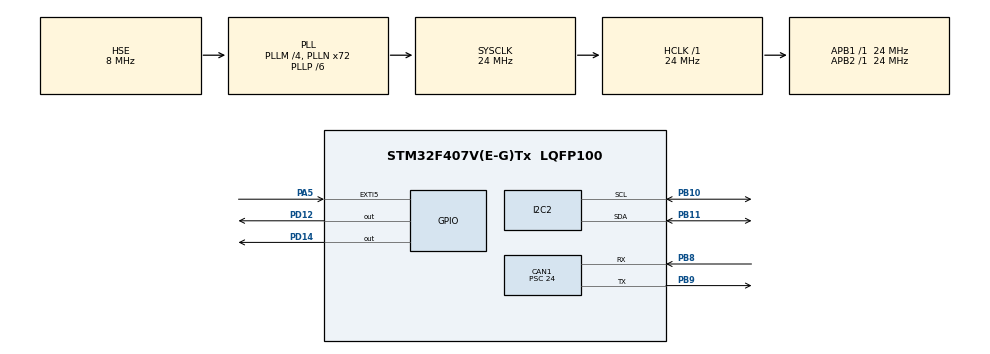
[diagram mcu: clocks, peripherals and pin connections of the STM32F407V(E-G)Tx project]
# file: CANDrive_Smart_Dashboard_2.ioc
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CAN1.BS1=CAN_BS1_13TQ
CAN1.BS2=CAN_BS2_2TQ
CAN1.CalculateBaudRate=62500
CAN1.CalculateTimeBit=16000
CAN1.CalculateTimeQuantum=1000.0
CAN1.Prescaler=24
I2C2.OwnAddress=0x48
Mcu.Family=STM32F4
Mcu.Name=STM32F407V(E-G)Tx
Mcu.Package=LQFP100
NVIC.CAN1_TX_IRQn=true\:7\:0\:true\:false\:true\:true\:true\:true
NVIC.EXTI9_5_IRQn=true\:6\:0\:true\:false\:true\:true\:true\:true
NVIC.PriorityGroup=NVIC_PRIORITYGROUP_4
NVIC.TIM1_UP_TIM10_IRQn=true\:15\:0\:false\:false\:true\:false\:true\:true
NVIC.TimeBase=TIM1_UP_TIM10_IRQn
NVIC.TimeBaseIP=TIM1
PA5.GPIO_ModeDefaultEXTI=GPIO_MODE_IT_RISING_FALLING
PA5.Signal=GPXTI5
PB10.Mode=I2C
PB10.Signal=I2C2_SCL
PB11.Mode=I2C
PB11.Signal=I2C2_SDA
PB8.Mode=CAN_Activate
PB8.Signal=CAN1_RX
PB9.Mode=CAN_Activate
PB9.Signal=CAN1_TX
PD12.Signal=GPIO_Output
PD14.Signal=GPIO_Output
PH0-OSC_IN.Mode=HSE-External-Oscillator
PH0-OSC_IN.Signal=RCC_OSC_IN
PH1-OSC_OUT.Mode=HSE-External-Oscillator
PH1-OSC_OUT.Signal=RCC_OSC_OUT
ProjectManager.HeapSize=0x200
ProjectManager.StackSize=0x400
ProjectManager.TargetToolchain=STM32CubeIDE
RCC.48MHZClocksFreq_Value=36000000
RCC.AHBFreq_Value=24000000
RCC.APB1Freq_Value=24000000
RCC.APB1TimFreq_Value=24000000
RCC.APB2Freq_Value=24000000
RCC.APB2TimFreq_Value=24000000
RCC.CortexFreq_Value=24000000
RCC.HCLKFreq_Value=24000000
RCC.HSE_VALUE=8000000
RCC.HSI_VALUE=16000000
RCC.LSE_VALUE=32768
RCC.PLLM=4
RCC.PLLN=72
RCC.PLLP=RCC_PLLP_DIV6
RCC.PLLSourceVirtual=RCC_PLLSOURCE_HSE
RCC.SYSCLKFreq_VALUE=24000000
RCC.SYSCLKSource=RCC_SYSCLKSOURCE_PLLCLK
RCC.VCOOutputFreq_Value=144000000
VP_SYS_VS_tim1.Mode=TIM1
board=custom

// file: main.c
/* USER CODE BEGIN Header */
/**
  ******************************************************************************
  * @file           : main.c
  * @brief          : Main program body
  ******************************************************************************
  * @attention
  *
  * Copyright (c) 2025 STMicroelectronics.
  * All rights reserved.
  *
  * This software is licensed under terms that can be found in the LICENSE file
  * in the root directory of this software component.
  * If no LICENSE file comes with this software, it is provided AS-IS.
  *
  ******************************************************************************
  */
/* USER CODE END Header */
#include "main.h"

/* USER CODE BEGIN Includes */
#include "FreeRTOS.h"
#include "task.h"
#include "timers.h"
#include "semphr.h"
#include "queue.h"
#include "event_groups.h"
#include "SEGGER_SYSVIEW.h"
/* USER CODE END Includes */

/* USER CODE BEGIN PD */
#define STACK_SIZE			128	//words
#define TMP102_I2C_ADDR		0x48
#define TMP102_REG_ADDR		0x00
/* USER CODE END PD */

CAN_HandleTypeDef hcan1;

I2C_HandleTypeDef hi2c2;

/* USER CODE BEGIN PV */
uint8_t tasksCreated;
uint8_t TransmitData[2];

volatile uint8_t Temperature_C[2];
volatile uint8_t door_status;	// open(0), close(1)

uint32_t TxMailbox;
CAN_TxHeaderTypeDef TxHeader;	//CAN Data Frame header fields

/* USER CODE END PV */

void SystemClock_Config(void);
static void MX_GPIO_Init(void);
static void MX_CAN1_Init(void);
static void MX_I2C2_Init(void);
/* USER CODE BEGIN PFP */

void Read_Temperature(void * argument);
void Transmit_Packet_To_CanNode1(void * argument);
/* USER CODE END PFP */

int main(void)
{

  /* MCU Configuration--------------------------------------------------------*/

  /* Reset of all peripherals, Initializes the Flash interface and the Systick. */
  HAL_Init();

  /* Configure the system clock */
  SystemClock_Config();

  /* Initialize all configured peripherals */
  MX_GPIO_Init();
  MX_CAN1_Init();
  MX_I2C2_Init();
  /* USER CODE BEGIN 2 */

  xTaskCreate(Read_Temperature, "Read_Temperature", STACK_SIZE, NULL, tskIDLE_PRIORITY+1, NULL);
  xTaskCreate(Transmit_Packet_To_CanNode1, "Transmit_Packet_To_CanNode1", STACK_SIZE, NULL, tskIDLE_PRIORITY+2, NULL);

  tasksCreated = uxTaskGetNumberOfTasks();

  vTaskStartScheduler();
  /* USER CODE END 2 */

  /* Infinite loop */
  while (1)
  {

  }
}

void SystemClock_Config(void)
{
  RCC_OscInitTypeDef RCC_OscInitStruct = {0};
  RCC_ClkInitTypeDef RCC_ClkInitStruct = {0};

  /** Configure the main internal regulator output voltage
  */
  __HAL_RCC_PWR_CLK_ENABLE();
  __HAL_PWR_VOLTAGESCALING_CONFIG(PWR_REGULATOR_VOLTAGE_SCALE1);

  /** Initializes the RCC Oscillators according to the specified parameters
  * in the RCC_OscInitTypeDef structure.
  */
  RCC_OscInitStruct.OscillatorType = RCC_OSCILLATORTYPE_HSE;
  RCC_OscInitStruct.HSEState = RCC_HSE_ON;
  RCC_OscInitStruct.PLL.PLLState = RCC_PLL_ON;
  RCC_OscInitStruct.PLL.PLLSource = RCC_PLLSOURCE_HSE;
  RCC_OscInitStruct.PLL.PLLM = 4;
  RCC_OscInitStruct.PLL.PLLN = 72;
  RCC_OscInitStruct.PLL.PLLP = RCC_PLLP_DIV6;
  RCC_OscInitStruct.PLL.PLLQ = 4;
  if (HAL_RCC_OscConfig(&RCC_OscInitStruct) != HAL_OK)
  {
    Error_Handler();
  }

  /** Initializes the CPU, AHB and APB buses clocks
  */
  RCC_ClkInitStruct.ClockType = RCC_CLOCKTYPE_HCLK|RCC_CLOCKTYPE_SYSCLK
                              |RCC_CLOCKTYPE_PCLK1|RCC_CLOCKTYPE_PCLK2;
  RCC_ClkInitStruct.SYSCLKSource = RCC_SYSCLKSOURCE_PLLCLK;
  RCC_ClkInitStruct.AHBCLKDivider = RCC_SYSCLK_DIV1;
  RCC_ClkInitStruct.APB1CLKDivider = RCC_HCLK_DIV1;
  RCC_ClkInitStruct.APB2CLKDivider = RCC_HCLK_DIV1;

  if (HAL_RCC_ClockConfig(&RCC_ClkInitStruct, FLASH_LATENCY_0) != HAL_OK)
  {
    Error_Handler();
  }
}

static void MX_CAN1_Init(void)
{

  hcan1.Instance = CAN1;
  hcan1.Init.Prescaler = 24;
  hcan1.Init.Mode = CAN_MODE_NORMAL;
  hcan1.Init.SyncJumpWidth = CAN_SJW_1TQ;
  hcan1.Init.TimeSeg1 = CAN_BS1_13TQ;
  hcan1.Init.TimeSeg2 = CAN_BS2_2TQ;
  hcan1.Init.TimeTriggeredMode = DISABLE;
  hcan1.Init.AutoBusOff = DISABLE;
  hcan1.Init.AutoWakeUp = DISABLE;
  hcan1.Init.AutoRetransmission = DISABLE;
  hcan1.Init.ReceiveFifoLocked = DISABLE;
  hcan1.Init.TransmitFifoPriority = DISABLE;
  if (HAL_CAN_Init(&hcan1) != HAL_OK)
  {
    Error_Handler();
  }

}

static void MX_I2C2_Init(void)
{

  hi2c2.Instance = I2C2;
  hi2c2.Init.ClockSpeed = 100000;
  hi2c2.Init.DutyCycle = I2C_DUTYCYCLE_2;
  hi2c2.Init.OwnAddress1 = 144;
  hi2c2.Init.AddressingMode = I2C_ADDRESSINGMODE_7BIT;
  hi2c2.Init.DualAddressMode = I2C_DUALADDRESS_DISABLE;
  hi2c2.Init.OwnAddress2 = 0;
  hi2c2.Init.GeneralCallMode = I2C_GENERALCALL_DISABLE;
  hi2c2.Init.NoStretchMode = I2C_NOSTRETCH_DISABLE;
  if (HAL_I2C_Init(&hi2c2) != HAL_OK)
  {
    Error_Handler();
  }

}

static void MX_GPIO_Init(void)
{
  GPIO_InitTypeDef GPIO_InitStruct = {0};

  /* GPIO Ports Clock Enable */
  __HAL_RCC_GPIOH_CLK_ENABLE();
  __HAL_RCC_GPIOA_CLK_ENABLE();
  __HAL_RCC_GPIOB_CLK_ENABLE();
  __HAL_RCC_GPIOD_CLK_ENABLE();

  /*Configure GPIO pin Output Level */
  HAL_GPIO_WritePin(GPIOD, GPIO_PIN_12|GPIO_PIN_14, GPIO_PIN_RESET);

  /*Configure GPIO pin : PA5 */
  GPIO_InitStruct.Pin = GPIO_PIN_5;
  GPIO_InitStruct.Mode = GPIO_MODE_IT_RISING_FALLING;
  GPIO_InitStruct.Pull = GPIO_NOPULL;
  HAL_GPIO_Init(GPIOA, &GPIO_InitStruct);

  /*Configure GPIO pins : PD12 PD14 */
  GPIO_InitStruct.Pin = GPIO_PIN_12|GPIO_PIN_14;
  GPIO_InitStruct.Mode = GPIO_MODE_OUTPUT_PP;
  GPIO_InitStruct.Pull = GPIO_NOPULL;
  GPIO_InitStruct.Speed = GPIO_SPEED_FREQ_LOW;
  HAL_GPIO_Init(GPIOD, &GPIO_InitStruct);

  /* EXTI interrupt init*/
  HAL_NVIC_SetPriority(EXTI9_5_IRQn, 6, 0);
  HAL_NVIC_EnableIRQ(EXTI9_5_IRQn);

}

/* USER CODE BEGIN 4 */
void HAL_GPIO_EXTI_Callback(uint16_t GPIO_Pin)
{
	if(GPIO_Pin == GPIO_PIN_5)
	{
		if(HAL_GPIO_ReadPin(GPIOA, GPIO_PIN_5))
		{
			//rising edge -> 0 to 1
			door_status = 1;
		}
		else
		{
			//falling edge -> 1 to 0
			door_status = 0;
		}
	}
}

void HAL_CAN_TxMailbox0CompleteCallback(CAN_HandleTypeDef *hcan)
{
	//Green LED will toggle after every successful CAN transmission
	HAL_CAN_ActivateNotification(&hcan1, CAN_IT_TX_MAILBOX_EMPTY);	//FOR INTERRUPTS
	HAL_GPIO_TogglePin(GPIOD, GPIO_PIN_12);
}

void Read_Temperature(void * argument)
{
	uint8_t register_addr = TMP102_REG_ADDR;
	uint8_t tx_status;
	uint32_t TxData = 0;

	while(1)
	{
		tx_status = HAL_I2C_Master_Transmit(&hi2c2, (uint16_t)TMP102_I2C_ADDR << 1, &register_addr, 1, 100);
		if(tx_status == HAL_OK)
		{
			HAL_I2C_Master_Receive(&hi2c2, (uint16_t)TMP102_I2C_ADDR << 1, (uint8_t *)Temperature_C, 2, 100);
		}

		//data read periodically after every 1000ms(1 second)
		vTaskDelay(pdMS_TO_TICKS(800));
	}
}

void Transmit_Packet_To_CanNode1(void * argument)
{
	HAL_CAN_ActivateNotification(&hcan1, CAN_IT_TX_MAILBOX_EMPTY);	//FOR INTERRUPTS
	if(HAL_CAN_Start(&hcan1) != HAL_OK)
	{
		Error_Handler();
	}

	while(1)
	{
		//header of transmission packet
		TxHeader.StdId = 0x099;
		TxHeader.RTR = CAN_RTR_DATA;
		TxHeader.IDE = CAN_ID_STD;
		TxHeader.DLC = 2;
		TxHeader.TransmitGlobalTime = DISABLE;
		TransmitData[0] = Temperature_C[0];
		TransmitData[1] = Temperature_C[1] | door_status;

		//transmission Request
		if(HAL_CAN_AddTxMessage(&hcan1, &TxHeader, TransmitData, &TxMailbox) != HAL_OK)
		{
			Error_Handler();
		}

		//Wait for transmission to complete
		//HAL_CAN_GetTxMailboxesFreeLevel To get no of free Tx Mailboxes, wait until at least 3 Mailbox is free
		while(HAL_CAN_GetTxMailboxesFreeLevel(&hcan1) != 3) {}

		vTaskDelay(pdMS_TO_TICKS(1000));
	}
}

/* USER CODE END 4 */

void HAL_TIM_PeriodElapsedCallback(TIM_HandleTypeDef *htim)
{
  if (htim->Instance == TIM1) {
    HAL_IncTick();
  }
}

void Error_Handler(void)
{
  /* USER CODE BEGIN Error_Handler_Debug */
  /* User can add his own implementation to report the HAL error return state */
  __disable_irq();
  while (1)
  {
	  HAL_GPIO_WritePin(GPIOD, GPIO_PIN_14, GPIO_PIN_SET);
  }
  /* USER CODE END Error_Handler_Debug */
}

#ifdef  USE_FULL_ASSERT
/**
  * @brief  Reports the name of the source file and the source line number
  *         where the assert_param error has occurred.
  * @param  file: pointer to the source file name
  * @param  line: assert_param error line source number
  * @retval None
  */
void assert_failed(uint8_t *file, uint32_t line)
{
  /* USER CODE BEGIN 6 */
	SEGGER_SYSVIEW_PrintfHost("Assertion Failed:file %s on line %d\r\n", file, line);
	while(1);
  /* USER CODE END 6 */
}
#endif /* USE_FULL_ASSERT */
